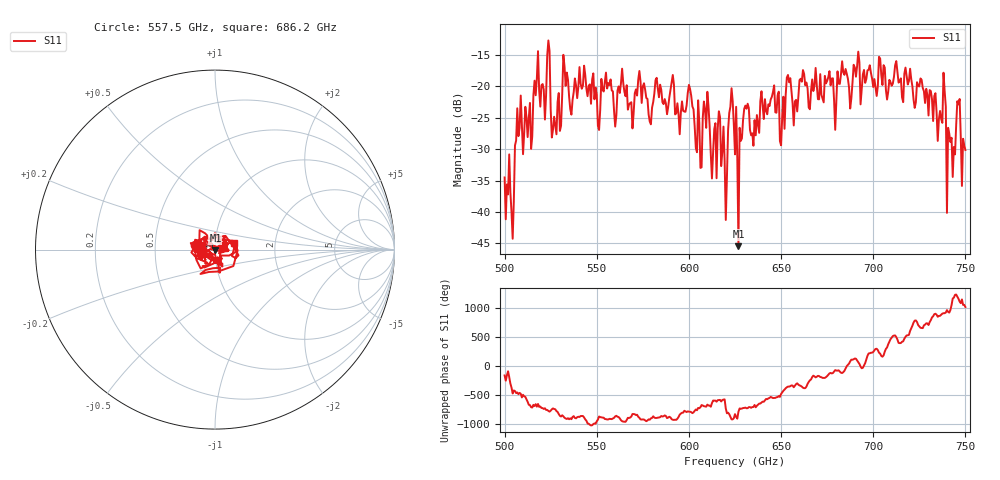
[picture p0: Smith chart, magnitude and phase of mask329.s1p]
!Created with skrf (http://scikit-rf.org).
# GHz S MA R 50.0
!freq magS11 angS11
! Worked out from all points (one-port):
!   401 points, 500 GHz to 750 GHz, reference 50 ohm
!   lowest |S11| = -45.4 dB at 626.9 GHz (marker M1), VSWR 1.01, Z = 50.2 - j0.49 ohm
!   |S11| at or under -10 dB: start of sweep to end of sweep
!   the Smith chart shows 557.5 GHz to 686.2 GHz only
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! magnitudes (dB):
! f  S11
! 500 GHz  -34.5
! 504.4 GHz  -44.3
! 507.5 GHz  -27.9
! 513.8 GHz  -22.6
! 516.9 GHz  -21.4
! 523.8 GHz  -12.7
! 526.9 GHz  -24.8
! 531.2 GHz  -21.3
! 562.5 GHz  -21.1
! 579.4 GHz  -26.0
! 590.6 GHz  -19.4
! 593.8 GHz  -22.7
! 600.6 GHz  -20.4
! 605.6 GHz  -25.7
! 609.4 GHz  -26.6
! 619.4 GHz  -31.8
! 622.5 GHz  -23.2
! 625 GHz  -30.8
! 626.9 GHz  -45.4
! 631.2 GHz  -23.6
! 635 GHz  -29.5
! 656.2 GHz  -22.7
! 687.5 GHz  -23.5
! 718.8 GHz  -19.7
! 738.1 GHz  -17.8
! 741.2 GHz  -27.5
! 746.2 GHz  -22.9
! 750 GHz  -30.1
